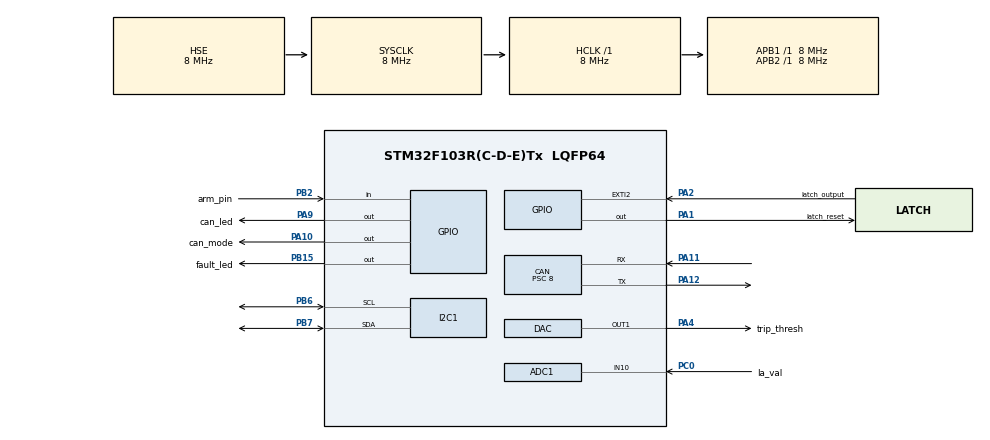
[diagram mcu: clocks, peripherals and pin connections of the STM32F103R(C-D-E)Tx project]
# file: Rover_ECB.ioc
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ADC1.Channel-0\#ChannelRegularConversion=ADC_CHANNEL_10
ADC1.NbrOfConversionFlag=1
ADC1.Rank-0\#ChannelRegularConversion=1
ADC1.SamplingTime-0\#ChannelRegularConversion=ADC_SAMPLETIME_239CYCLES_5
ADC1.master=1
CAN.BS1=CAN_BS1_2TQ
CAN.CalculateBaudRate=250000
CAN.CalculateTimeBit=4000
CAN.CalculateTimeQuantum=1000.0
CAN.Mode=CAN_MODE_NORMAL
CAN.Prescaler=8
DAC.DAC_OutputBuffer=DAC_OUTPUTBUFFER_DISABLE
Mcu.Family=STM32F1
Mcu.Name=STM32F103R(C-D-E)Tx
Mcu.Package=LQFP64
Mcu.UserConstants=CAN_TIMEOUT_PSC_DIV,(HCLK_kHz - 1);CAN_TIMEOUT_ms,50;HCLK_Hz,(HCLK_MHz * 1000000);HCLK_MHz,8;HCLK_kHz,(HCLK_MHz * 1000)
NVIC.PVD_IRQn=true\:0\:0\:false\:false\:true\:true\:true\:true
NVIC.PriorityGroup=NVIC_PRIORITYGROUP_4
NVIC.TIM2_IRQn=true\:0\:0\:false\:false\:true\:true\:true\:true
NVIC.TIM6_IRQn=true\:0\:0\:false\:false\:true\:true\:true\:true
NVIC.TIM7_IRQn=true\:0\:0\:false\:false\:true\:true\:true\:true
NVIC.USB_HP_CAN1_TX_IRQn=true\:0\:0\:false\:false\:true\:true\:true\:true
PA1.GPIO_Label=latch_reset
PA1.GPIO_PuPd=GPIO_PULLDOWN
PA1.Signal=GPIO_Output
PA10.GPIO_Label=can_mode
PA10.GPIO_PuPd=GPIO_NOPULL
PA10.Signal=GPIO_Output
PA11.Mode=CAN_Activate
PA11.Signal=CAN_RX
PA12.Mode=CAN_Activate
PA12.Signal=CAN_TX
PA13.Mode=Serial_Wire
PA13.Signal=SYS_JTMS-SWDIO
PA14.Mode=Serial_Wire
PA14.Signal=SYS_JTCK-SWCLK
PA2.GPIO_Label=latch_output
PA2.GPIO_ModeDefaultEXTI=GPIO_MODE_IT_RISING
PA2.Signal=GPXTI2
PA4.GPIO_Label=trip_thresh
PA4.Signal=COMP_DAC1_group
PA9.GPIO_Label=can_led
PA9.GPIO_PuPd=GPIO_NOPULL
PA9.Signal=GPIO_Output
PB15.GPIO_Label=fault_led
PB15.Signal=GPIO_Output
PB2.GPIO_Label=arm_pin
PB2.Signal=GPIO_Input
PB6.Mode=I2C
PB6.Signal=I2C1_SCL
PB7.Mode=I2C
PB7.Signal=I2C1_SDA
PC0.GPIO_Label=Ia_val
PC0.GPIO_Mode=GPIO_MODE_ANALOG
PC0.Signal=ADCx_IN10
PD0-OSC_IN.Mode=HSE-External-Clock-Source
PD0-OSC_IN.Signal=RCC_OSC_IN
PD1-OSC_OUT.Mode=HSE-External-Clock-Source
PD1-OSC_OUT.Signal=RCC_OSC_OUT
ProjectManager.HeapSize=0x200
ProjectManager.StackSize=0x400
ProjectManager.TargetToolchain=CMake
RCC.AHBFreq_Value=8000000
RCC.APB1Freq_Value=8000000
RCC.APB1TimFreq_Value=8000000
RCC.APB2Freq_Value=8000000
RCC.APB2TimFreq_Value=8000000
RCC.HCLKFreq_Value=8000000
RCC.PLLSourceVirtual=RCC_PLLSOURCE_HSE
RCC.SYSCLKFreq_VALUE=8000000
RCC.SYSCLKSource=RCC_SYSCLKSOURCE_HSE
RCC.USBFreq_Value=16000000
SH.ADCx_IN10.0=ADC1_IN10,IN10
SH.COMP_DAC1_group.0=DAC_OUT1,DAC_OUT1
TIM2.Period=499
TIM2.Prescaler=7999
TIM6.Prescaler=7999
TIM7.Prescaler=7999
TIM8.Period=CAN_TIMEOUT_ms
TIM8.Prescaler=CAN_TIMEOUT_PSC_DIV
VP_TIM2_VS_ClockSourceINT.Mode=Internal
VP_TIM6_VS_ClockSourceINT.Mode=Enable_Timer
VP_TIM7_VS_ClockSourceINT.Mode=Enable_Timer
VP_TIM8_VS_ClockSourceINT.Mode=Internal
board=custom

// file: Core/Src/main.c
/* USER CODE BEGIN Header */
/**
  ******************************************************************************
  * @file           : main.c
  * @brief          : Main program body
  ******************************************************************************
  * @attention
  *
  * Copyright (c) 2026 STMicroelectronics.
  * All rights reserved.
  *
  * This software is licensed under terms that can be found in the LICENSE file
  * in the root directory of this software component.
  * If no LICENSE file comes with this software, it is provided AS-IS.
  *
  ******************************************************************************
  */
/* USER CODE END Header */
#include "main.h"
#include "stm32f1xx_hal_can.h"
#include <stdint.h>

ADC_HandleTypeDef hadc1;

CAN_HandleTypeDef hcan;

DAC_HandleTypeDef hdac;

I2C_HandleTypeDef hi2c1;

TIM_HandleTypeDef htim2;
TIM_HandleTypeDef htim6;
TIM_HandleTypeDef htim7;
TIM_HandleTypeDef htim8;

/* USER CODE BEGIN PV */
uint8_t initialized = 0;

uint32_t error_blink_interval = 200;
uint32_t normal_blink_interval = 4000;
uint32_t last_blink = 0;

bool arm_pressed = false;
uint32_t arm_pressed_tick = 0;

uint32_t telemetry_send_rate = 500;
uint32_t last_telemetry_tick = 0; // Added for non-blocking CAN

volatile bool system_tripped = false;

float Curr_val = 0.0f;
float Temp_val = 0.0f;

uint32_t dac_val = 2100; // Resulting in > 1.653V

TIM_HandleTypeDef *htim_can_disconnect = &htim8;
uint32_t tx_mailbox;
struct can_buffer_slot
{
  uint16_t message_priority;
  uint8_t size;
  uint8_t data[8];
};

lwrb_t can_tx_rb;
char can_tx_rb_data[sizeof(struct can_buffer_slot) * 32];
volatile size_t can_tx_rb_current_len;
uint8_t sleep_guard = 1;
/* USER CODE END PV */

void SystemClock_Config(void);
static void MX_GPIO_Init(void);
static void MX_CAN_Init(void);
static void MX_DAC_Init(void);
static void MX_I2C1_Init(void);
static void MX_ADC1_Init(void);
static void MX_TIM2_Init(void);
static void MX_TIM6_Init(void);
static void MX_TIM7_Init(void);
static void MX_TIM8_Init(void);
/* USER CODE BEGIN PFP */
void Reset_Latch(void);
void Set_Dac(uint32_t val);
void Generate_Telemetry(void);
/* USER CODE END PFP */

/* USER CODE BEGIN 0 */
uint8_t can_move_to_fifo()
{
  uint32_t primask;
  uint8_t started = 0;
  struct can_buffer_slot slot;

  primask = __get_PRIMASK();
  __disable_irq();
  if (HAL_CAN_GetTxMailboxesFreeLevel(&hcan) > 0 && lwrb_read(&can_tx_rb, &slot, sizeof(slot)) > 0)
  {
    HAL_TIM_Base_Start_IT(htim_can_disconnect);
    __HAL_TIM_SET_COUNTER(htim_can_disconnect, 0);

    HAL_GPIO_WritePin(can_mode_GPIO_Port, can_mode_Pin, GPIO_PIN_RESET);
    HAL_GPIO_WritePin(can_led_GPIO_Port, can_led_Pin, GPIO_PIN_SET);

    CAN_TxHeaderTypeDef can_classic_tx_header = {
        .StdId = 0x446,
        .IDE = CAN_ID_STD,
        .RTR = CAN_RTR_DATA,
        .DLC = slot.size};

    uint8_t delay = 0;
    while (HAL_CAN_AddTxMessage(&hcan, &can_classic_tx_header, slot.data, &tx_mailbox) != HAL_OK)
    {
      HAL_Delay(1);
      delay++;
    }
    if (delay > 0)
    {
#ifdef UART_DBG
      char buf[32];
      snprintf(buf, sizeof(buf), "CAN_OVERFLOW %d\r\n", delay);
#endif
    }
    started = 1;
    __HAL_TIM_SET_COUNTER(htim_can_disconnect, 0);
  }

  __set_PRIMASK(primask);
  return started;
}

void can_transmit(void *data, uint32_t length, uint16_t id_priority__UNUSED)
{
  static struct can_buffer_slot slot_null;
  struct can_buffer_slot slot = {
      .size = length,
      .message_priority = id_priority__UNUSED,
      .data = {}};
  uint8_t fail = 9;

  memcpy(slot.data, data, length);

  /* Write data to transmit buffer */
  while (fail-- && lwrb_write(&can_tx_rb, &slot, sizeof(struct can_buffer_slot)) != sizeof(struct can_buffer_slot))
  {
    // char err_str[] = "can buffer overrun 0\r\n";
    // err_str[sizeof(err_str) - 4] = '0' + fail;
    lwrb_read(&can_tx_rb, &slot_null, sizeof(slot_null));
  }
  can_move_to_fifo();
}

/* USER CODE END 0 */

int main(void)
{

  /* USER CODE BEGIN 1 */
  lwrb_init(&can_tx_rb, can_tx_rb_data, sizeof(can_tx_rb_data));
  /* USER CODE END 1 */

  /* MCU Configuration--------------------------------------------------------*/

  /* Reset of all peripherals, Initializes the Flash interface and the Systick. */
  HAL_Init();

  /* Configure the system clock */
  SystemClock_Config();

  /* Initialize all configured peripherals */
  MX_GPIO_Init();
  MX_CAN_Init();
  MX_DAC_Init();
  MX_I2C1_Init();
  MX_ADC1_Init();
  MX_TIM2_Init();
  MX_TIM6_Init();
  MX_TIM7_Init();
  MX_TIM8_Init();
  /* USER CODE BEGIN 2 */
  HAL_DAC_Start(&hdac, DAC_CHANNEL_1); // Start the DAC
  Set_Dac(dac_val);

  // CONFIGURE CAN
  if (HAL_CAN_ActivateNotification(&hcan, CAN_IT_TX_MAILBOX_EMPTY) != HAL_OK)
    Error_Handler();
  if (HAL_CAN_Start(&hcan) != HAL_OK)
    Error_Handler();
  HAL_GPIO_WritePin(can_mode_GPIO_Port, can_mode_Pin, GPIO_PIN_SET);
  // END CONFIGURE CAN

  if (HAL_GPIO_ReadPin(GPIOA, GPIO_PIN_2) == GPIO_PIN_SET)
  {
    system_tripped = true;
  }

  initialized = 1;

  /* USER CODE END 2 */

  /* Infinite loop */
  /* USER CODE BEGIN WHILE */
  while (1)
  {

    if (system_tripped && (HAL_GetTick() - last_blink >= error_blink_interval))
    { //blink fault led rapidly if system is tripped
      HAL_GPIO_TogglePin(GPIOB, GPIO_PIN_15);
      last_blink = HAL_GetTick();
    }
    else if (system_tripped == false && (HAL_GetTick() - last_blink >= normal_blink_interval))
    {                                                        // flash led very briefly if system is not tripped
      HAL_GPIO_WritePin(GPIOB, GPIO_PIN_15, GPIO_PIN_RESET); //turn led on
      last_blink = HAL_GetTick();

      HAL_TIM_Base_Stop_IT(&htim6);
      __HAL_TIM_SET_AUTORELOAD(&htim6, 50 - 1); // configure timer 6 to trigger interrupt in 50 ms
      __HAL_TIM_SET_COUNTER(&htim6, 0);
      __HAL_TIM_CLEAR_FLAG(&htim6, TIM_FLAG_UPDATE);
      HAL_TIM_Base_Start_IT(&htim6); // start timer
    }

    //check if the arm pin is being pressed
    if (HAL_GPIO_ReadPin(GPIOB, GPIO_PIN_2) == GPIO_PIN_SET && arm_pressed == false)
    {
      arm_pressed = true;
      arm_pressed_tick = HAL_GetTick();
    }
    else if (HAL_GPIO_ReadPin(GPIOB, GPIO_PIN_2) == GPIO_PIN_RESET)
    {
      arm_pressed = false;
    }

    if (system_tripped && arm_pressed && (HAL_GetTick() - arm_pressed_tick >= 1500))
    { // reset the latch if the system is tripped and the arm pin has been held for longer than 1.5s
      system_tripped = false;
      Reset_Latch();
      for (uint32_t i = 0; i < 5; i++)
      { //blink led quicklu a few times
        HAL_GPIO_TogglePin(GPIOB, GPIO_PIN_15);
        HAL_Delay(100);
      }
      HAL_GPIO_WritePin(GPIOB, GPIO_PIN_15, GPIO_PIN_SET); //turn led off
    }

    if (HAL_GetTick() - last_telemetry_tick >= telemetry_send_rate)
    {
      Generate_Telemetry(); // Reads ADC and I2C

      // Prepare CAN Data: [Current, Temp, Trip_Status]
      uint8_t can_data[3];
      can_data[0] = (uint8_t)(Curr_val + 100); // Offset for negative range
      can_data[1] = (uint8_t)Temp_val;
      can_data[2] = (uint8_t)system_tripped;

      can_transmit(can_data, sizeof(can_data), 0);

      last_telemetry_tick = HAL_GetTick();
    }
  }

  /* USER CODE END WHILE */

}

void SystemClock_Config(void)
{
  RCC_OscInitTypeDef RCC_OscInitStruct = {0};
  RCC_ClkInitTypeDef RCC_ClkInitStruct = {0};
  RCC_PeriphCLKInitTypeDef PeriphClkInit = {0};

  /** Initializes the RCC Oscillators according to the specified parameters
  * in the RCC_OscInitTypeDef structure.
  */
  RCC_OscInitStruct.OscillatorType = RCC_OSCILLATORTYPE_HSE;
  RCC_OscInitStruct.HSEState = RCC_HSE_BYPASS;
  RCC_OscInitStruct.PLL.PLLState = RCC_PLL_NONE;
  if (HAL_RCC_OscConfig(&RCC_OscInitStruct) != HAL_OK)
  {
    Error_Handler();
  }

  /** Initializes the CPU, AHB and APB buses clocks
  */
  RCC_ClkInitStruct.ClockType = RCC_CLOCKTYPE_HCLK | RCC_CLOCKTYPE_SYSCLK | RCC_CLOCKTYPE_PCLK1 | RCC_CLOCKTYPE_PCLK2;
  RCC_ClkInitStruct.SYSCLKSource = RCC_SYSCLKSOURCE_HSE;
  RCC_ClkInitStruct.AHBCLKDivider = RCC_SYSCLK_DIV1;
  RCC_ClkInitStruct.APB1CLKDivider = RCC_HCLK_DIV1;
  RCC_ClkInitStruct.APB2CLKDivider = RCC_HCLK_DIV1;

  if (HAL_RCC_ClockConfig(&RCC_ClkInitStruct, FLASH_LATENCY_0) != HAL_OK)
  {
    Error_Handler();
  }
  PeriphClkInit.PeriphClockSelection = RCC_PERIPHCLK_ADC;
  PeriphClkInit.AdcClockSelection = RCC_ADCPCLK2_DIV2;
  if (HAL_RCCEx_PeriphCLKConfig(&PeriphClkInit) != HAL_OK)
  {
    Error_Handler();
  }
}

static void MX_ADC1_Init(void)
{

  ADC_ChannelConfTypeDef sConfig = {0};

  /** Common config
  */
  hadc1.Instance = ADC1;
  hadc1.Init.ScanConvMode = ADC_SCAN_DISABLE;
  hadc1.Init.ContinuousConvMode = DISABLE;
  hadc1.Init.DiscontinuousConvMode = DISABLE;
  hadc1.Init.ExternalTrigConv = ADC_SOFTWARE_START;
  hadc1.Init.DataAlign = ADC_DATAALIGN_RIGHT;
  hadc1.Init.NbrOfConversion = 1;
  if (HAL_ADC_Init(&hadc1) != HAL_OK)
  {
    Error_Handler();
  }

  /** Configure Regular Channel
  */
  sConfig.Channel = ADC_CHANNEL_10;
  sConfig.Rank = ADC_REGULAR_RANK_1;
  sConfig.SamplingTime = ADC_SAMPLETIME_239CYCLES_5;
  if (HAL_ADC_ConfigChannel(&hadc1, &sConfig) != HAL_OK)
  {
    Error_Handler();
  }
}

static void MX_CAN_Init(void)
{

  hcan.Instance = CAN1;
  hcan.Init.Prescaler = 8;
  hcan.Init.Mode = CAN_MODE_NORMAL;
  hcan.Init.SyncJumpWidth = CAN_SJW_1TQ;
  hcan.Init.TimeSeg1 = CAN_BS1_2TQ;
  hcan.Init.TimeSeg2 = CAN_BS2_1TQ;
  hcan.Init.TimeTriggeredMode = DISABLE;
  hcan.Init.AutoBusOff = DISABLE;
  hcan.Init.AutoWakeUp = DISABLE;
  hcan.Init.AutoRetransmission = DISABLE;
  hcan.Init.ReceiveFifoLocked = DISABLE;
  hcan.Init.TransmitFifoPriority = DISABLE;
  if (HAL_CAN_Init(&hcan) != HAL_OK)
  {
    Error_Handler();
  }
}

static void MX_DAC_Init(void)
{

  DAC_ChannelConfTypeDef sConfig = {0};

  /** DAC Initialization
  */
  hdac.Instance = DAC;
  if (HAL_DAC_Init(&hdac) != HAL_OK)
  {
    Error_Handler();
  }

  /** DAC channel OUT1 config
  */
  sConfig.DAC_Trigger = DAC_TRIGGER_NONE;
  sConfig.DAC_OutputBuffer = DAC_OUTPUTBUFFER_DISABLE;
  if (HAL_DAC_ConfigChannel(&hdac, &sConfig, DAC_CHANNEL_1) != HAL_OK)
  {
    Error_Handler();
  }
}

static void MX_I2C1_Init(void)
{

  hi2c1.Instance = I2C1;
  hi2c1.Init.ClockSpeed = 100000;
  hi2c1.Init.DutyCycle = I2C_DUTYCYCLE_2;
  hi2c1.Init.OwnAddress1 = 0;
  hi2c1.Init.AddressingMode = I2C_ADDRESSINGMODE_7BIT;
  hi2c1.Init.DualAddressMode = I2C_DUALADDRESS_DISABLE;
  hi2c1.Init.OwnAddress2 = 0;
  hi2c1.Init.GeneralCallMode = I2C_GENERALCALL_DISABLE;
  hi2c1.Init.NoStretchMode = I2C_NOSTRETCH_DISABLE;
  if (HAL_I2C_Init(&hi2c1) != HAL_OK)
  {
    Error_Handler();
  }
}

static void MX_TIM2_Init(void)
{

  TIM_ClockConfigTypeDef sClockSourceConfig = {0};
  TIM_MasterConfigTypeDef sMasterConfig = {0};

  htim2.Instance = TIM2;
  htim2.Init.Prescaler = 7999;
  htim2.Init.CounterMode = TIM_COUNTERMODE_UP;
  htim2.Init.Period = 499;
  htim2.Init.ClockDivision = TIM_CLOCKDIVISION_DIV1;
  htim2.Init.AutoReloadPreload = TIM_AUTORELOAD_PRELOAD_DISABLE;
  if (HAL_TIM_Base_Init(&htim2) != HAL_OK)
  {
    Error_Handler();
  }
  sClockSourceConfig.ClockSource = TIM_CLOCKSOURCE_INTERNAL;
  if (HAL_TIM_ConfigClockSource(&htim2, &sClockSourceConfig) != HAL_OK)
  {
    Error_Handler();
  }
  sMasterConfig.MasterOutputTrigger = TIM_TRGO_RESET;
  sMasterConfig.MasterSlaveMode = TIM_MASTERSLAVEMODE_DISABLE;
  if (HAL_TIMEx_MasterConfigSynchronization(&htim2, &sMasterConfig) != HAL_OK)
  {
    Error_Handler();
  }
}

static void MX_TIM6_Init(void)
{

  TIM_MasterConfigTypeDef sMasterConfig = {0};

  htim6.Instance = TIM6;
  htim6.Init.Prescaler = 7999;
  htim6.Init.CounterMode = TIM_COUNTERMODE_UP;
  htim6.Init.Period = 65535;
  htim6.Init.AutoReloadPreload = TIM_AUTORELOAD_PRELOAD_DISABLE;
  if (HAL_TIM_Base_Init(&htim6) != HAL_OK)
  {
    Error_Handler();
  }
  sMasterConfig.MasterOutputTrigger = TIM_TRGO_RESET;
  sMasterConfig.MasterSlaveMode = TIM_MASTERSLAVEMODE_DISABLE;
  if (HAL_TIMEx_MasterConfigSynchronization(&htim6, &sMasterConfig) != HAL_OK)
  {
    Error_Handler();
  }
}

static void MX_TIM7_Init(void)
{

  TIM_MasterConfigTypeDef sMasterConfig = {0};

  htim7.Instance = TIM7;
  htim7.Init.Prescaler = 7999;
  htim7.Init.CounterMode = TIM_COUNTERMODE_UP;
  htim7.Init.Period = 65535;
  htim7.Init.AutoReloadPreload = TIM_AUTORELOAD_PRELOAD_DISABLE;
  if (HAL_TIM_Base_Init(&htim7) != HAL_OK)
  {
    Error_Handler();
  }
  sMasterConfig.MasterOutputTrigger = TIM_TRGO_RESET;
  sMasterConfig.MasterSlaveMode = TIM_MASTERSLAVEMODE_DISABLE;
  if (HAL_TIMEx_MasterConfigSynchronization(&htim7, &sMasterConfig) != HAL_OK)
  {
    Error_Handler();
  }
}

static void MX_TIM8_Init(void)
{

  TIM_ClockConfigTypeDef sClockSourceConfig = {0};
  TIM_MasterConfigTypeDef sMasterConfig = {0};

  htim8.Instance = TIM8;
  htim8.Init.Prescaler = CAN_TIMEOUT_PSC_DIV;
  htim8.Init.CounterMode = TIM_COUNTERMODE_UP;
  htim8.Init.Period = CAN_TIMEOUT_ms;
  htim8.Init.ClockDivision = TIM_CLOCKDIVISION_DIV1;
  htim8.Init.RepetitionCounter = 0;
  htim8.Init.AutoReloadPreload = TIM_AUTORELOAD_PRELOAD_DISABLE;
  if (HAL_TIM_Base_Init(&htim8) != HAL_OK)
  {
    Error_Handler();
  }
  sClockSourceConfig.ClockSource = TIM_CLOCKSOURCE_INTERNAL;
  if (HAL_TIM_ConfigClockSource(&htim8, &sClockSourceConfig) != HAL_OK)
  {
    Error_Handler();
  }
  sMasterConfig.MasterOutputTrigger = TIM_TRGO_RESET;
  sMasterConfig.MasterSlaveMode = TIM_MASTERSLAVEMODE_DISABLE;
  if (HAL_TIMEx_MasterConfigSynchronization(&htim8, &sMasterConfig) != HAL_OK)
  {
    Error_Handler();
  }
}

static void MX_GPIO_Init(void)
{
  GPIO_InitTypeDef GPIO_InitStruct = {0};

  /* GPIO Ports Clock Enable */
  __HAL_RCC_GPIOC_CLK_ENABLE();
  __HAL_RCC_GPIOD_CLK_ENABLE();
  __HAL_RCC_GPIOA_CLK_ENABLE();
  __HAL_RCC_GPIOB_CLK_ENABLE();

  /*Configure GPIO pin Output Level */
  HAL_GPIO_WritePin(GPIOA, latch_reset_Pin | can_led_Pin | can_mode_Pin, GPIO_PIN_RESET);

  /*Configure GPIO pin Output Level */
  HAL_GPIO_WritePin(fault_led_GPIO_Port, fault_led_Pin, GPIO_PIN_RESET);

  /*Configure GPIO pins : PC13 PC14 PC15 PC1
                           PC2 PC3 PC4 PC5
                           PC6 PC7 PC8 PC9
                           PC10 PC11 PC12 */
  GPIO_InitStruct.Pin = GPIO_PIN_13 | GPIO_PIN_14 | GPIO_PIN_15 | GPIO_PIN_1 | GPIO_PIN_2 | GPIO_PIN_3 | GPIO_PIN_4 | GPIO_PIN_5 | GPIO_PIN_6 | GPIO_PIN_7 | GPIO_PIN_8 | GPIO_PIN_9 | GPIO_PIN_10 | GPIO_PIN_11 | GPIO_PIN_12;
  GPIO_InitStruct.Mode = GPIO_MODE_ANALOG;
  HAL_GPIO_Init(GPIOC, &GPIO_InitStruct);

  /*Configure GPIO pins : PA0 PA3 PA5 PA6
                           PA7 PA8 PA15 */
  GPIO_InitStruct.Pin = GPIO_PIN_0 | GPIO_PIN_3 | GPIO_PIN_5 | GPIO_PIN_6 | GPIO_PIN_7 | GPIO_PIN_8 | GPIO_PIN_15;
  GPIO_InitStruct.Mode = GPIO_MODE_ANALOG;
  HAL_GPIO_Init(GPIOA, &GPIO_InitStruct);

  /*Configure GPIO pin : latch_reset_Pin */
  GPIO_InitStruct.Pin = latch_reset_Pin;
  GPIO_InitStruct.Mode = GPIO_MODE_OUTPUT_PP;
  GPIO_InitStruct.Pull = GPIO_PULLDOWN;
  GPIO_InitStruct.Speed = GPIO_SPEED_FREQ_LOW;
  HAL_GPIO_Init(latch_reset_GPIO_Port, &GPIO_InitStruct);

  /*Configure GPIO pin : latch_output_Pin */
  GPIO_InitStruct.Pin = latch_output_Pin;
  GPIO_InitStruct.Mode = GPIO_MODE_IT_RISING;
  GPIO_InitStruct.Pull = GPIO_NOPULL;
  HAL_GPIO_Init(latch_output_GPIO_Port, &GPIO_InitStruct);

  /*Configure GPIO pins : PB0 PB1 PB10 PB11
                           PB12 PB13 PB14 PB3
                           PB4 PB5 PB8 PB9 */
  GPIO_InitStruct.Pin = GPIO_PIN_0 | GPIO_PIN_1 | GPIO_PIN_10 | GPIO_PIN_11 | GPIO_PIN_12 | GPIO_PIN_13 | GPIO_PIN_14 | GPIO_PIN_3 | GPIO_PIN_4 | GPIO_PIN_5 | GPIO_PIN_8 | GPIO_PIN_9;
  GPIO_InitStruct.Mode = GPIO_MODE_ANALOG;
  HAL_GPIO_Init(GPIOB, &GPIO_InitStruct);

  /*Configure GPIO pin : arm_pin_Pin */
  GPIO_InitStruct.Pin = arm_pin_Pin;
  GPIO_InitStruct.Mode = GPIO_MODE_INPUT;
  GPIO_InitStruct.Pull = GPIO_NOPULL;
  HAL_GPIO_Init(arm_pin_GPIO_Port, &GPIO_InitStruct);

  /*Configure GPIO pin : fault_led_Pin */
  GPIO_InitStruct.Pin = fault_led_Pin;
  GPIO_InitStruct.Mode = GPIO_MODE_OUTPUT_PP;
  GPIO_InitStruct.Pull = GPIO_NOPULL;
  GPIO_InitStruct.Speed = GPIO_SPEED_FREQ_LOW;
  HAL_GPIO_Init(fault_led_GPIO_Port, &GPIO_InitStruct);

  /*Configure GPIO pins : can_led_Pin can_mode_Pin */
  GPIO_InitStruct.Pin = can_led_Pin | can_mode_Pin;
  GPIO_InitStruct.Mode = GPIO_MODE_OUTPUT_PP;
  GPIO_InitStruct.Pull = GPIO_NOPULL;
  GPIO_InitStruct.Speed = GPIO_SPEED_FREQ_LOW;
  HAL_GPIO_Init(GPIOA, &GPIO_InitStruct);

  /*Configure GPIO pin : PD2 */
  GPIO_InitStruct.Pin = GPIO_PIN_2;
  GPIO_InitStruct.Mode = GPIO_MODE_ANALOG;
  HAL_GPIO_Init(GPIOD, &GPIO_InitStruct);

}

/* USER CODE BEGIN 4 */
void try_can_move(CAN_HandleTypeDef *hcan_it)
{
  if (hcan_it == &hcan)
  {
    if (can_move_to_fifo() == 0 && lwrb_get_full(&can_tx_rb) == 0)
    {
      __HAL_TIM_SET_COUNTER(htim_can_disconnect, 0);
      HAL_TIM_Base_Stop_IT(htim_can_disconnect);
      HAL_GPIO_WritePin(can_led_GPIO_Port, can_led_Pin, GPIO_PIN_RESET);
      HAL_GPIO_WritePin(can_mode_GPIO_Port, can_mode_Pin, GPIO_PIN_SET);
    }
  }
}

void HAL_CAN_TxMailbox0CompleteCallback(CAN_HandleTypeDef *hcan)
{
  try_can_move(hcan);
}
void HAL_CAN_TxMailbox1CompleteCallback(CAN_HandleTypeDef *hcan)
{
  try_can_move(hcan);
}
void HAL_CAN_TxMailbox2CompleteCallback(CAN_HandleTypeDef *hcan)
{
  try_can_move(hcan);
}

void HAL_TIM_PeriodElapsedCallback(TIM_HandleTypeDef *htim)
{
  if (htim->Instance == TIM6)
  {
    //stop the timer so it doesn't repeat
    HAL_TIM_Base_Stop_IT(&htim6);
    HAL_GPIO_WritePin(GPIOB, GPIO_PIN_15, GPIO_PIN_SET); // turn off led
  }
  else if (htim->Instance == TIM7)
  {
    //stop the timer so it doesn't repeat
    HAL_TIM_Base_Stop_IT(&htim7);
    HAL_GPIO_WritePin(GPIOA, GPIO_PIN_1, GPIO_PIN_RESET); // turn of reset pin
  }
  else if (htim == htim_can_disconnect && initialized)
  {
    // sfx_twotone(5, 50, 10);
    HAL_TIM_Base_Stop_IT(htim_can_disconnect);

    // empty stale
    HAL_CAN_AbortTxRequest(&hcan, CAN_TX_MAILBOX0 | CAN_TX_MAILBOX1 | CAN_TX_MAILBOX2);
    lwrb_reset(&can_tx_rb);

    // enter shutdown and standby
    HAL_GPIO_WritePin(can_led_GPIO_Port, can_led_Pin, GPIO_PIN_RESET);
    HAL_GPIO_WritePin(can_mode_GPIO_Port, can_mode_Pin, GPIO_PIN_SET);
  }
}

void HAL_GPIO_EXTI_Callback(uint16_t GPIO_Pin)
{
  if (GPIO_Pin == GPIO_PIN_2 && system_tripped == false) //if the latch gets tripped
  {
    system_tripped = true;
  }
}

void Reset_Latch(void)
{
  //generate a 100ms pulse on the reset pin
  HAL_GPIO_WritePin(GPIOA, GPIO_PIN_1, GPIO_PIN_SET);

  HAL_TIM_Base_Stop_IT(&htim7);
  __HAL_TIM_SET_AUTORELOAD(&htim7, 100 - 1); // configure timer 6 to trigger interrupt in 100 ms
  __HAL_TIM_SET_COUNTER(&htim7, 0);
  __HAL_TIM_CLEAR_FLAG(&htim7, TIM_FLAG_UPDATE);
  HAL_TIM_Base_Start_IT(&htim7); // start timer
}

void Set_Dac(uint32_t val)
{
  HAL_DAC_SetValue(&hdac, DAC_CHANNEL_1, DAC_ALIGN_12B_R, val);
}

void Generate_Telemetry(void)
{
  // 1. Current Sense (ADC PC0)
  HAL_ADC_Start(&hadc1);
  if (HAL_ADC_PollForConversion(&hadc1, 10) == HAL_OK)
  {
    uint32_t raw = HAL_ADC_GetValue(&hadc1);
    float voltage = (raw * 3.3f) / 4095.0f;
    // Sensitivity: 16.5mV/A, Offset: 1.65V
    Curr_val = (voltage - 1.65f) / 0.0165f;
  }
  HAL_ADC_Stop(&hadc1);

  // 2. Temperature Sense (I2C TMP112)
  uint8_t i2c_buf[2];
  // Address 0x48 (7-bit) shifted for HAL
  if (HAL_I2C_Master_Receive(&hi2c1, (0x48 << 1), i2c_buf, 2, 50) == HAL_OK)
  {
    int16_t raw_temp = (i2c_buf[0] << 4) | (i2c_buf[1] >> 4);
    Temp_val = raw_temp * 0.0625f;
  }
}

#if 0
void HAL_GPIO_EXTI_Callback(uint16_t GPIO_Pin)
{
    if (GPIO_Pin == GPIO_PIN_2 && system_tripped == false) //if the latch gets tripped
    {
        system_tripped = true;
    }

}

void Reset_Latch(void){
	//generate a 100ms pulse on the reset pin
	HAL_GPIO_WritePin(GPIOA, GPIO_PIN_1, GPIO_PIN_SET);

	  HAL_TIM_Base_Stop_IT(&htim7);
	  __HAL_TIM_SET_AUTORELOAD(&htim7, 100 - 1); // configure timer 6 to trigger interrupt in 100 ms
	  __HAL_TIM_SET_COUNTER(&htim7, 0);
	  __HAL_TIM_CLEAR_FLAG(&htim7, TIM_FLAG_UPDATE);
	  HAL_TIM_Base_Start_IT(&htim7); // start timer
}

void Set_Dac(uint32_t val){
	HAL_DAC_SetValue(&hdac, DAC_CHANNEL_1, DAC_ALIGN_12B_R, val);
}
#endif

#if 0
void Generate_Telemetry(void){

	uint32_t adc_value = 0;

	HAL_ADC_Start(&hadc1);                          // Start conversion
	HAL_ADC_PollForConversion(&hadc1, HAL_MAX_DELAY); // Wait until done
	adc_value = HAL_ADC_GetValue(&hadc1);           // Read result (0-4095)
	HAL_ADC_Stop(&hadc1);

#define VREF 3.3f
#define ADC_TO_VOLTAGE(raw) ((float)(raw) / 4095.0f * VREF)

	uint32_t raw = HAL_ADC_GetValue(&hadc1);
	float voltage = ADC_TO_VOLTAGE(raw);

}
#endif
/* USER CODE END 4 */

void Error_Handler(void)
{
  /* USER CODE BEGIN Error_Handler_Debug */
  /* User can add his own implementation to report the HAL error return state */
  __BKPT();
  __disable_irq();
  while (1)
  {
  }
  /* USER CODE END Error_Handler_Debug */
}
